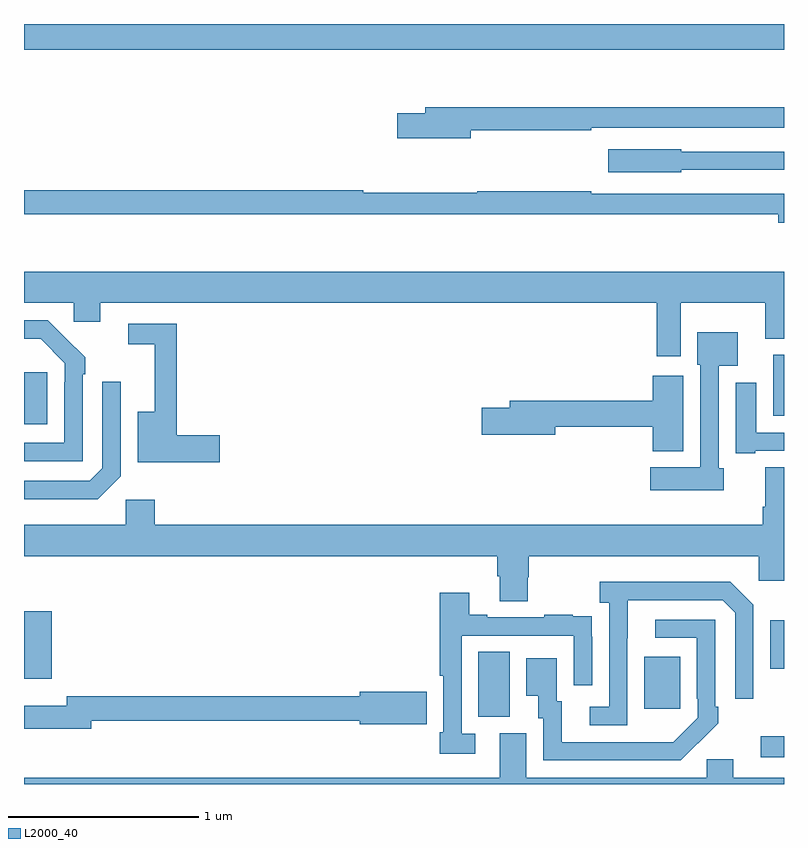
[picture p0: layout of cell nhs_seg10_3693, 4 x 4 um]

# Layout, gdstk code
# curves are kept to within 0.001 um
import gdstk
lib = gdstk.Library(unit=1e-6, precision=1e-09)
def R(c, l, rs):  # rectangles x0, y0, x1, y1
    for r in rs: c.add(gdstk.rectangle(r[:2], r[2:], *l))
def P(c, l, *ps):  # polygons
    for p in ps: c.add(gdstk.Polygon(p, *l))
L2000_40 = (2000, 40)

nhs_seg10_3693 = lib.new_cell('nhs_seg10_3693')
R(nhs_seg10_3693, L2000_40, [(316.878,1248.642,317,1248.751), (315.392,1248.853,315.556,1249.196), (316.265,1248.897,316.453,1249.171), (313,1249.055,313.145,1249.408), (316.928,1249.106,317,1249.363), (313,1250.393,313.123,1250.668), (316.943,1250.438,317,1250.758), (313,1252.364,317,1252.5)])
P(nhs_seg10_3693, L2000_40, [(315.352,1251.942),(315.986,1251.942),(315.986,1251.954),(317,1251.954),(317,1252.063),(315.113,1252.063),(315.113,1252.029),(314.964,1252.029),(314.964,1251.899),(315.352,1251.899)],
  [(316.458,1251.732),(317,1251.732),(317,1251.828),(316.458,1251.828),(316.458,1251.841),(316.074,1251.841),(316.074,1251.719),(316.458,1251.719)],
  [(317,1251.606),(315.986,1251.606),(315.986,1251.619),(315.386,1251.619),(315.386,1251.611),(314.786,1251.611),(314.786,1251.626),(313,1251.626),(313,1251.498),(316.97,1251.498),(316.97,1251.455),(317,1251.455)],
  [(316.456,1251.032),(316.901,1251.032),(316.901,1250.843),(317,1250.843),(317,1251.196),(313,1251.196),(313,1251.032),(313.263,1251.032),(313.263,1250.934),(313.402,1250.934),(313.402,1251.032),(316.331,1251.032),(316.331,1250.751),(316.456,1250.751)],
  [(313.308,1250.657),(313.323,1250.657),(313.323,1250.745),(313.126,1250.94),(313,1250.94),(313,1250.844),(313.087,1250.844),(313.215,1250.715),(313.215,1250.615),(313.212,1250.615),(313.212,1250.295),(313,1250.295),(313,1250.199),(313.308,1250.199)],
  [(314.029,1250.336),(313.805,1250.336),(313.805,1250.922),(313.548,1250.922),(313.548,1250.814),(313.688,1250.814),(313.688,1250.458),(313.598,1250.458),(313.598,1250.194),(314.029,1250.194)],
  [(316.684,1250.163),(316.656,1250.163),(316.656,1250.702),(316.756,1250.702),(316.756,1250.878),(316.544,1250.878),(316.544,1250.706),(316.56,1250.706),(316.56,1250.167),(316.296,1250.167),(316.296,1250.045),(316.684,1250.045)],
  [(316.471,1250.65),(316.31,1250.65),(316.31,1250.516),(315.557,1250.516),(315.557,1250.48),(315.408,1250.48),(315.408,1250.338),(315.796,1250.338),(315.796,1250.38),(316.31,1250.38),(316.31,1250.252),(316.471,1250.252)],
  [(313.509,1250.121),(313.509,1250.617),(313.413,1250.617),(313.413,1250.163),(313.347,1250.097),(313,1250.097),(313,1250),(313.388,1250)],
  [(316.849,1250.253),(317,1250.253),(317,1250.349),(316.855,1250.349),(316.855,1250.611),(316.745,1250.611),(316.745,1250.241),(316.849,1250.241)],
  [(315.651,1249.587),(315.656,1249.587),(315.656,1249.7),(316.866,1249.7),(316.866,1249.569),(317,1249.569),(317,1250.168),(316.901,1250.168),(316.901,1249.96),(316.889,1249.96),(316.889,1249.864),(313.688,1249.864),(313.688,1249.996),(313.536,1249.996),(313.536,1249.864),(313,1249.864),(313,1249.7),(315.491,1249.7),(315.491,1249.594),(315.503,1249.594),(315.503,1249.462),(315.651,1249.462)],
  [(316.176,1249.267),(316.177,1249.467),(316.677,1249.467),(316.743,1249.401),(316.743,1248.948),(316.839,1248.948),(316.839,1249.443),(316.718,1249.564),(316.029,1249.564),(316.029,1249.454),(316.08,1249.454),(316.08,1248.906),(315.978,1248.906),(315.978,1248.81),(316.176,1248.81)],
  [(315.376,1248.765),(315.303,1248.765),(315.303,1249.281),(315.894,1249.281),(315.894,1249.02),(315.99,1249.02),(315.99,1249.274),(315.989,1249.274),(315.989,1249.383),(315.887,1249.383),(315.887,1249.39),(315.739,1249.39),(315.739,1249.377),(315.439,1249.377),(315.439,1249.39),(315.343,1249.39),(315.343,1249.507),(315.187,1249.507),(315.187,1249.069),(315.207,1249.069),(315.207,1248.772),(315.189,1248.772),(315.189,1248.66),(315.376,1248.66)],
  [(316.547,1248.715),(316.548,1248.714),(316.653,1248.819),(316.653,1248.907),(316.638,1248.907),(316.638,1249.365),(316.323,1249.365),(316.323,1249.269),(316.542,1249.269),(316.542,1248.949),(316.545,1248.949),(316.545,1248.849),(316.417,1248.721),(315.829,1248.72),(315.829,1248.936),(315.805,1248.936),(315.805,1249.162),(315.644,1249.162),(315.644,1248.965),(315.707,1248.965),(315.707,1248.846),(315.732,1248.846),(315.732,1248.624),(316.456,1248.624)],
  [(313.354,1248.834),(314.768,1248.834),(314.768,1248.815),(315.121,1248.815),(315.121,1248.986),(314.768,1248.986),(314.768,1248.962),(313.226,1248.962),(313.226,1248.913),(313,1248.913),(313,1248.791),(313.354,1248.791)],
  [(317,1248.532),(316.732,1248.532),(316.732,1248.63),(316.593,1248.63),(316.593,1248.532),(315.643,1248.532),(315.643,1248.768),(315.503,1248.768),(315.503,1248.532),(313,1248.532),(313,1248.5),(317,1248.5)])

lib.write_gds('nhs_seg10_3693.gds')
